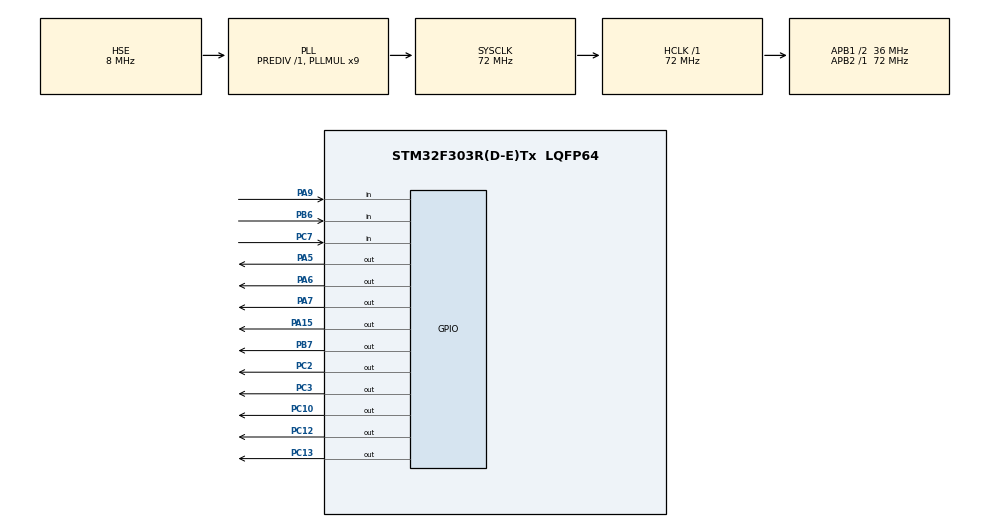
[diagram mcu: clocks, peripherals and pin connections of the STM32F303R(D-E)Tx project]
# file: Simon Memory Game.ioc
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Mcu.Family=STM32F3
Mcu.Name=STM32F303R(D-E)Tx
Mcu.Package=LQFP64
NVIC.PriorityGroup=NVIC_PRIORITYGROUP_4
PA13.Mode=Serial_Wire
PA13.Signal=SYS_JTMS-SWDIO
PA14.Mode=Serial_Wire
PA14.Signal=SYS_JTCK-SWCLK
PA15.Signal=GPIO_Output
PA5.Signal=GPIO_Output
PA6.Signal=GPIO_Output
PA7.Signal=GPIO_Output
PA9.GPIO_PuPd=GPIO_PULLDOWN
PA9.Signal=GPIO_Input
PB6.GPIO_PuPd=GPIO_PULLDOWN
PB6.Signal=GPIO_Input
PB7.Signal=GPIO_Output
PC10.Signal=GPIO_Output
PC12.Signal=GPIO_Output
PC13.Signal=GPIO_Output
PC2.Signal=GPIO_Output
PC3.Signal=GPIO_Output
PC7.GPIO_PuPd=GPIO_PULLDOWN
PC7.Signal=GPIO_Input
PF0-OSC_IN.Mode=HSE-External-Oscillator
PF0-OSC_IN.Signal=RCC_OSC_IN
PF1-OSC_OUT.Mode=HSE-External-Oscillator
PF1-OSC_OUT.Signal=RCC_OSC_OUT
ProjectManager.HeapSize=0x200
ProjectManager.StackSize=0x400
ProjectManager.TargetToolchain=STM32CubeIDE
RCC.ADC1Enable-ClockTree=true
RCC.AHBFreq_Value=72000000
RCC.APB1CLKDivider=RCC_HCLK_DIV2
RCC.APB1Freq_Value=36000000
RCC.APB1TimFreq_Value=72000000
RCC.APB2Freq_Value=72000000
RCC.APB2TimFreq_Value=72000000
RCC.CortexFreq_Value=72000000
RCC.EnableLSERTC-ClockTree=true
RCC.EnableMCOMultDivisor-ClockTree=true
RCC.HCLKFreq_Value=72000000
RCC.HSE_VALUE=8000000
RCC.HSI_VALUE=8000000
RCC.LSE_VALUE=32768
RCC.PLLMUL=RCC_PLL_MUL9
RCC.PLLSourceVirtual=RCC_PLLSOURCE_HSE
RCC.PLLState-ClockTree=RCC_PLL_ON
RCC.SYSCLKFreq_VALUE=72000000
RCC.SYSCLKSourceVirtual=RCC_SYSCLKSOURCE_PLLCLK
RCC.Tim8Enable-ClockTree=true
RCC.USBFreq_Value=72000000
TIM1.Period=0xffff-1
TIM1.Prescaler=72-1
VP_TIM1_VS_ClockSourceINT.Mode=Internal
board=custom

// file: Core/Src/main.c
/* USER CODE BEGIN Header */
/**
  ******************************************************************************
  * @file           : main.c
  * @brief          : Main program body
  ******************************************************************************
  * @attention
  *
  * Copyright (c) 2023 STMicroelectronics.
  * All rights reserved.
  *
  * This software is licensed under terms that can be found in the LICENSE file
  * in the root directory of this software component.
  * If no LICENSE file comes with this software, it is provided AS-IS.
  *
  ******************************************************************************
  */
/* USER CODE END Header */
#include "main.h"

/* USER CODE BEGIN Includes */
#include<stdlib.h>
#include "LCD1602.h"
/* USER CODE END Includes */

TIM_HandleTypeDef htim1;

/* USER CODE BEGIN PV */
int trail=1;
int *pass;
int i=0;
int flag=0;
int *inp;
int wins=0;
int high =0;
char charArray[4];
/* USER CODE END PV */

void SystemClock_Config(void);
static void MX_GPIO_Init(void);
static void MX_TIM1_Init(void);

/* USER CODE BEGIN 0 */
void genseq(int *pass,int trail)
{
    int temp,i=0;
    while(i<trail)
    {
        temp=rand()%2;
        pass[i]=temp;
        i+=1;
    }

  for(int i=0;i<trail;i++)
  {
    if (pass[i]==1){
    HAL_GPIO_WritePin(GPIOA,GPIO_PIN_7,1);
    HAL_Delay(500);
    HAL_GPIO_WritePin(GPIOA,GPIO_PIN_7,0);
    HAL_Delay(100);
    }
    else if (pass[i]==0){
    HAL_GPIO_WritePin(GPIOA,GPIO_PIN_6,1);
    HAL_Delay(500);
    HAL_GPIO_WritePin(GPIOA,GPIO_PIN_6,0);
    HAL_Delay(100);
    }
  }
}

void intToCharArray(int num, char charArray[])
{
    // Extract digits
    int d3 = num % 10;
    int d2 = (num % 100) / 10;
    int d1 = num / 100;

    // Convert digits to characters
    charArray[0] = '0' + d1;
    charArray[1] = '0' + d2;
    charArray[2] = '0' + d3;

    // Null-terminate the array
    charArray[3] = '\0';
}
/* USER CODE END 0 */

int main(void)
{

  /* MCU Configuration--------------------------------------------------------*/

  /* Reset of all peripherals, Initializes the Flash interface and the Systick. */
  HAL_Init();

  /* Configure the system clock */
  SystemClock_Config();

  /* Initialize all configured peripherals */
  MX_GPIO_Init();
  MX_TIM1_Init();
  /* USER CODE BEGIN 2 */
  HAL_TIM_Base_Start(&htim1);
  lcd_init();
  lcd_put_cur(0,0);
  lcd_send_string("Your Score 0");
  lcd_put_cur(1,0);
  lcd_send_string("High Score 0");
  trail=1;
  pass=(int*)malloc(16*sizeof(int));
  wins=0;
  /* USER CODE END 2 */

  /* Infinite loop */
  /* USER CODE BEGIN WHILE */
  while (1)
  {
		i=0;
		flag=0;
		if (HAL_GPIO_ReadPin(GPIOB,GPIO_PIN_6)){
		if (trail==16)
			trail=1;
		genseq(pass,trail);
		inp=(int*)malloc((trail)*sizeof(int));
		while(i<trail)
		{
			if(HAL_GPIO_ReadPin(GPIOC,GPIO_PIN_7))
			{
				while(HAL_GPIO_ReadPin(GPIOC,GPIO_PIN_7)){
				inp[i]=0;
				HAL_GPIO_WritePin(GPIOA,GPIO_PIN_6,1);}
				i+=1;
				HAL_GPIO_WritePin(GPIOA,GPIO_PIN_6,0);
				HAL_Delay(100);
			}
			else if(HAL_GPIO_ReadPin(GPIOA,GPIO_PIN_9))
			{
				while(HAL_GPIO_ReadPin(GPIOA,GPIO_PIN_9)){
				inp[i]=1;
				HAL_GPIO_WritePin(GPIOA,GPIO_PIN_7,1);}
				i+=1;
				HAL_GPIO_WritePin(GPIOA,GPIO_PIN_7,0);
				HAL_Delay(100);
			}
			if (inp[i-1]!=pass[i-1]&&i>0)
				break;
		}
		for (i=0;i<trail;i++)
		{
			if (inp[i]!=pass[i])
			{
				flag=1;
				break;
			}
		}
		if (!flag)
		{
			HAL_GPIO_WritePin(GPIOA,GPIO_PIN_5,1);
			HAL_Delay(200);
			HAL_GPIO_WritePin(GPIOA,GPIO_PIN_5,0);
			wins+=1;
			intToCharArray(wins, charArray);
			lcd_put_cur(0,11);
			lcd_send_string(charArray);
		}
		else {
			HAL_GPIO_WritePin(GPIOA,GPIO_PIN_5,1);
			HAL_Delay(200);
			HAL_GPIO_WritePin(GPIOA,GPIO_PIN_5,0);
			HAL_Delay(100);
			HAL_GPIO_WritePin(GPIOA,GPIO_PIN_5,1);
			HAL_Delay(200);
			HAL_GPIO_WritePin(GPIOA,GPIO_PIN_5,0);
			trail=0;
			if (high<wins)
			{
				high=wins;
				intToCharArray(high, charArray);
				lcd_put_cur(1,11);
				lcd_send_string(charArray);
			}
			wins=0;
		}
		trail+=1;
		  }
    /* USER CODE END WHILE */

  }
}

void SystemClock_Config(void)
{
  RCC_OscInitTypeDef RCC_OscInitStruct = {0};
  RCC_ClkInitTypeDef RCC_ClkInitStruct = {0};
  RCC_PeriphCLKInitTypeDef PeriphClkInit = {0};

  /** Initializes the RCC Oscillators according to the specified parameters
  * in the RCC_OscInitTypeDef structure.
  */
  RCC_OscInitStruct.OscillatorType = RCC_OSCILLATORTYPE_HSE;
  RCC_OscInitStruct.HSEState = RCC_HSE_ON;
  RCC_OscInitStruct.HSIState = RCC_HSI_ON;
  RCC_OscInitStruct.PLL.PLLState = RCC_PLL_ON;
  RCC_OscInitStruct.PLL.PLLSource = RCC_PLLSOURCE_HSE;
  RCC_OscInitStruct.PLL.PLLMUL = RCC_PLL_MUL9;
  RCC_OscInitStruct.PLL.PREDIV = RCC_PREDIV_DIV1;
  if (HAL_RCC_OscConfig(&RCC_OscInitStruct) != HAL_OK)
  {
    Error_Handler();
  }

  /** Initializes the CPU, AHB and APB buses clocks
  */
  RCC_ClkInitStruct.ClockType = RCC_CLOCKTYPE_HCLK|RCC_CLOCKTYPE_SYSCLK
                              |RCC_CLOCKTYPE_PCLK1|RCC_CLOCKTYPE_PCLK2;
  RCC_ClkInitStruct.SYSCLKSource = RCC_SYSCLKSOURCE_PLLCLK;
  RCC_ClkInitStruct.AHBCLKDivider = RCC_SYSCLK_DIV1;
  RCC_ClkInitStruct.APB1CLKDivider = RCC_HCLK_DIV2;
  RCC_ClkInitStruct.APB2CLKDivider = RCC_HCLK_DIV1;

  if (HAL_RCC_ClockConfig(&RCC_ClkInitStruct, FLASH_LATENCY_2) != HAL_OK)
  {
    Error_Handler();
  }
  PeriphClkInit.PeriphClockSelection = RCC_PERIPHCLK_TIM1;
  PeriphClkInit.Tim1ClockSelection = RCC_TIM1CLK_HCLK;
  if (HAL_RCCEx_PeriphCLKConfig(&PeriphClkInit) != HAL_OK)
  {
    Error_Handler();
  }
}

static void MX_TIM1_Init(void)
{

  TIM_ClockConfigTypeDef sClockSourceConfig = {0};
  TIM_MasterConfigTypeDef sMasterConfig = {0};

  htim1.Instance = TIM1;
  htim1.Init.Prescaler = 72-1;
  htim1.Init.CounterMode = TIM_COUNTERMODE_UP;
  htim1.Init.Period = 0xffff-1;
  htim1.Init.ClockDivision = TIM_CLOCKDIVISION_DIV1;
  htim1.Init.RepetitionCounter = 0;
  htim1.Init.AutoReloadPreload = TIM_AUTORELOAD_PRELOAD_DISABLE;
  if (HAL_TIM_Base_Init(&htim1) != HAL_OK)
  {
    Error_Handler();
  }
  sClockSourceConfig.ClockSource = TIM_CLOCKSOURCE_INTERNAL;
  if (HAL_TIM_ConfigClockSource(&htim1, &sClockSourceConfig) != HAL_OK)
  {
    Error_Handler();
  }
  sMasterConfig.MasterOutputTrigger = TIM_TRGO_RESET;
  sMasterConfig.MasterOutputTrigger2 = TIM_TRGO2_RESET;
  sMasterConfig.MasterSlaveMode = TIM_MASTERSLAVEMODE_DISABLE;
  if (HAL_TIMEx_MasterConfigSynchronization(&htim1, &sMasterConfig) != HAL_OK)
  {
    Error_Handler();
  }

}

static void MX_GPIO_Init(void)
{
  GPIO_InitTypeDef GPIO_InitStruct = {0};

  /* GPIO Ports Clock Enable */
  __HAL_RCC_GPIOC_CLK_ENABLE();
  __HAL_RCC_GPIOF_CLK_ENABLE();
  __HAL_RCC_GPIOA_CLK_ENABLE();
  __HAL_RCC_GPIOB_CLK_ENABLE();

  /*Configure GPIO pin Output Level */
  HAL_GPIO_WritePin(GPIOC, GPIO_PIN_13|GPIO_PIN_2|GPIO_PIN_3|GPIO_PIN_10
                          |GPIO_PIN_12, GPIO_PIN_RESET);

  /*Configure GPIO pin Output Level */
  HAL_GPIO_WritePin(GPIOA, GPIO_PIN_5|GPIO_PIN_6|GPIO_PIN_7|GPIO_PIN_15, GPIO_PIN_RESET);

  /*Configure GPIO pin Output Level */
  HAL_GPIO_WritePin(GPIOB, GPIO_PIN_7, GPIO_PIN_RESET);

  /*Configure GPIO pins : PC13 PC2 PC3 PC10
                           PC12 */
  GPIO_InitStruct.Pin = GPIO_PIN_13|GPIO_PIN_2|GPIO_PIN_3|GPIO_PIN_10
                          |GPIO_PIN_12;
  GPIO_InitStruct.Mode = GPIO_MODE_OUTPUT_PP;
  GPIO_InitStruct.Pull = GPIO_NOPULL;
  GPIO_InitStruct.Speed = GPIO_SPEED_FREQ_LOW;
  HAL_GPIO_Init(GPIOC, &GPIO_InitStruct);

  /*Configure GPIO pins : PA5 PA6 PA7 PA15 */
  GPIO_InitStruct.Pin = GPIO_PIN_5|GPIO_PIN_6|GPIO_PIN_7|GPIO_PIN_15;
  GPIO_InitStruct.Mode = GPIO_MODE_OUTPUT_PP;
  GPIO_InitStruct.Pull = GPIO_NOPULL;
  GPIO_InitStruct.Speed = GPIO_SPEED_FREQ_LOW;
  HAL_GPIO_Init(GPIOA, &GPIO_InitStruct);

  /*Configure GPIO pin : PC7 */
  GPIO_InitStruct.Pin = GPIO_PIN_7;
  GPIO_InitStruct.Mode = GPIO_MODE_INPUT;
  GPIO_InitStruct.Pull = GPIO_PULLDOWN;
  HAL_GPIO_Init(GPIOC, &GPIO_InitStruct);

  /*Configure GPIO pin : PA9 */
  GPIO_InitStruct.Pin = GPIO_PIN_9;
  GPIO_InitStruct.Mode = GPIO_MODE_INPUT;
  GPIO_InitStruct.Pull = GPIO_PULLDOWN;
  HAL_GPIO_Init(GPIOA, &GPIO_InitStruct);

  /*Configure GPIO pin : PB6 */
  GPIO_InitStruct.Pin = GPIO_PIN_6;
  GPIO_InitStruct.Mode = GPIO_MODE_INPUT;
  GPIO_InitStruct.Pull = GPIO_PULLDOWN;
  HAL_GPIO_Init(GPIOB, &GPIO_InitStruct);

  /*Configure GPIO pin : PB7 */
  GPIO_InitStruct.Pin = GPIO_PIN_7;
  GPIO_InitStruct.Mode = GPIO_MODE_OUTPUT_PP;
  GPIO_InitStruct.Pull = GPIO_NOPULL;
  GPIO_InitStruct.Speed = GPIO_SPEED_FREQ_LOW;
  HAL_GPIO_Init(GPIOB, &GPIO_InitStruct);

}

void Error_Handler(void)
{
  __disable_irq();
  while (1)
  {
  }
}
